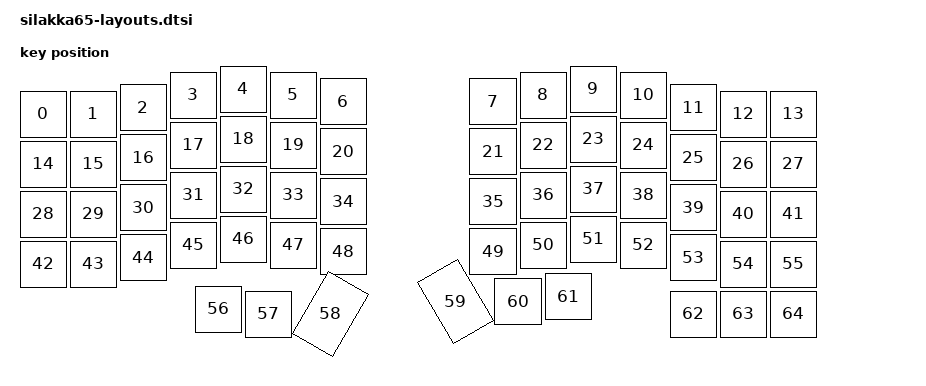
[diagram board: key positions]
#include <physical_layouts.dtsi>

/ {
    physical_layout_silakka65: physical_layout_silakka65 {
        compatible = "zmk,physical-layout";
        display-name = "Silakka65";
        keys  //                     w   h    x    y     rot    rx    ry
            = <&key_physical_attrs 100 100    0   50       0     0     0>
            , <&key_physical_attrs 100 100  100   50       0     0     0>
            , <&key_physical_attrs 100 100  200   37       0     0     0>
            , <&key_physical_attrs 100 100  300   12       0     0     0>
            , <&key_physical_attrs 100 100  400    0       0     0     0>
            , <&key_physical_attrs 100 100  500   12       0     0     0>
            , <&key_physical_attrs 100 100  600   25       0     0     0>
            , <&key_physical_attrs 100 100  900   25       0     0     0>
            , <&key_physical_attrs 100 100 1000   12       0     0     0>
            , <&key_physical_attrs 100 100 1100    0       0     0     0>
            , <&key_physical_attrs 100 100 1200   12       0     0     0>
            , <&key_physical_attrs 100 100 1300   37       0     0     0>
            , <&key_physical_attrs 100 100 1400   50       0     0     0>
            , <&key_physical_attrs 100 100 1500   50       0     0     0>
            , <&key_physical_attrs 100 100    0  150       0     0     0>
            , <&key_physical_attrs 100 100  100  150       0     0     0>
            , <&key_physical_attrs 100 100  200  137       0     0     0>
            , <&key_physical_attrs 100 100  300  112       0     0     0>
            , <&key_physical_attrs 100 100  400  100       0     0     0>
            , <&key_physical_attrs 100 100  500  112       0     0     0>
            , <&key_physical_attrs 100 100  600  125       0     0     0>
            , <&key_physical_attrs 100 100  900  125       0     0     0>
            , <&key_physical_attrs 100 100 1000  112       0     0     0>
            , <&key_physical_attrs 100 100 1100  100       0     0     0>
            , <&key_physical_attrs 100 100 1200  112       0     0     0>
            , <&key_physical_attrs 100 100 1300  137       0     0     0>
            , <&key_physical_attrs 100 100 1400  150       0     0     0>
            , <&key_physical_attrs 100 100 1500  150       0     0     0>
            , <&key_physical_attrs 100 100    0  250       0     0     0>
            , <&key_physical_attrs 100 100  100  250       0     0     0>
            , <&key_physical_attrs 100 100  200  237       0     0     0>
            , <&key_physical_attrs 100 100  300  212       0     0     0>
            , <&key_physical_attrs 100 100  400  200       0     0     0>
            , <&key_physical_attrs 100 100  500  212       0     0     0>
            , <&key_physical_attrs 100 100  600  225       0     0     0>
            , <&key_physical_attrs 100 100  900  225       0     0     0>
            , <&key_physical_attrs 100 100 1000  212       0     0     0>
            , <&key_physical_attrs 100 100 1100  200       0     0     0>
            , <&key_physical_attrs 100 100 1200  212       0     0     0>
            , <&key_physical_attrs 100 100 1300  237       0     0     0>
            , <&key_physical_attrs 100 100 1400  250       0     0     0>
            , <&key_physical_attrs 100 100 1500  250       0     0     0>
            , <&key_physical_attrs 100 100    0  350       0     0     0>
            , <&key_physical_attrs 100 100  100  350       0     0     0>
            , <&key_physical_attrs 100 100  200  337       0     0     0>
            , <&key_physical_attrs 100 100  300  312       0     0     0>
            , <&key_physical_attrs 100 100  400  300       0     0     0>
            , <&key_physical_attrs 100 100  500  312       0     0     0>
            , <&key_physical_attrs 100 100  600  325       0     0     0>
            , <&key_physical_attrs 100 100  900  325       0     0     0>
            , <&key_physical_attrs 100 100 1000  312       0     0     0>
            , <&key_physical_attrs 100 100 1100  300       0     0     0>
            , <&key_physical_attrs 100 100 1200  312       0     0     0>
            , <&key_physical_attrs 100 100 1300  337       0     0     0>
            , <&key_physical_attrs 100 100 1400  350       0     0     0>
            , <&key_physical_attrs 100 100 1500  350       0     0     0>
            , <&key_physical_attrs 100 100  350  440       0     0     0>
            , <&key_physical_attrs 100 100  450  450       0     0     0>
            , <&key_physical_attrs 100 150  575  425    3000   625   500>
            , <&key_physical_attrs 100 150  825  400 (-3000)   875   475>
            , <&key_physical_attrs 100 100  950  425       0     0     0>
            , <&key_physical_attrs 100 100 1050  415       0     0     0>
            , <&key_physical_attrs 100 100 1300  450       0     0     0>
            , <&key_physical_attrs 100 100 1400  450       0     0     0>
            , <&key_physical_attrs 100 100 1500  450       0     0     0>
            ;
    };
};
